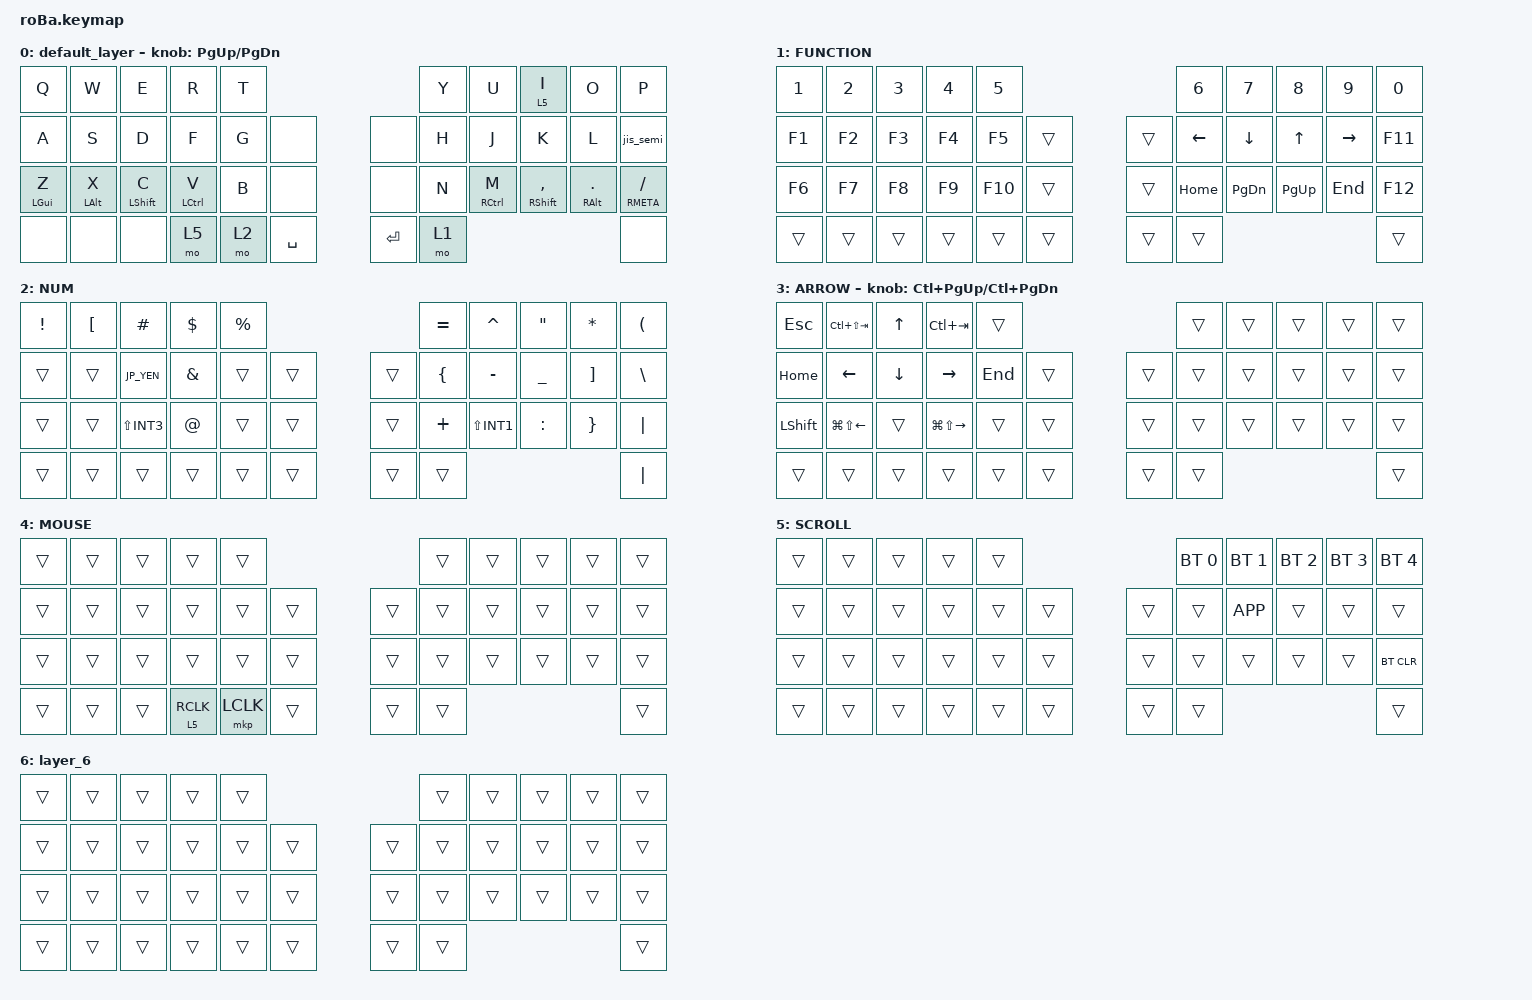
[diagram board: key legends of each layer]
#define DEFAULT 0
#define NUM     1
#define SYM     2
#define FUN     3
#define MOUSE   4
#define SCROLL  5
#define SNIPE   6

#define JP_DQUOTE       AT                // "
#define JP_AMPERSAND    CARET             // &
#define JP_QUOTE        AMPERSAND         // '
#define JP_EQUAL        UNDER             // =
#define JP_CARET        EQUAL             // ^
#define JP_YEN          0x89              // ¥
#define JP_PLUS         COLON             // +
#define JP_TILDE        PLUS              // ~
#define JP_PIPE         LS(INT3)          // |
#define JP_AT           LEFT_BRACKET      // @
#define JP_COLON        SINGLE_QUOTE      // :
#define JP_ASTERISK     DOUBLE_QUOTES     // *
#define JP_BACKQUOTE    LEFT_BRACE        // `
#define JP_UNDERSCORE   LS(INT1)          // _
#define JP_LBRACKET     RIGHT_BRACKET     // [
#define JP_RBRACKET     BACKSLASH         // ]
#define JP_LPAREN       ASTERISK          // (
#define JP_RPAREN       LEFT_PARENTHESIS  // )
#define JP_LBRACE       RIGHT_BRACE       // {
#define JP_RBRACE       PIPE              // }
#define JP_KANA         LANGUAGE_1        // かな
#define JP_EISU         LANGUAGE_2        // 英数
#define JP_HANZEN       GRAVE             // 半角/全角

#define KEYS_L 0 1 2 3 4 10 11 12 13 14 15 22 23 24 25 26 27  // Left-hand keys.
#define KEYS_R 5 6 7 8 9 16 17 18 19 20 21 28 29 30 31 32 33  // Right-hand keys.
#define KEYS_T 34 35 36 37 38 39 40 41 42                     // Thumb keys.

#define HM_TAPPING_TERM 200
#define HM_TAPPING_TERM_FAST 200
#define HM_PRIOR_IDLE 150

#include <behaviors.dtsi>
#include <dt-bindings/zmk/bt.h>
#include <dt-bindings/zmk/keys.h>
#include <dt-bindings/zmk/pointing.h>

&mt {
    flavor = "balanced";
    quick-tap-ms = <0>;
};

&lt {
    flavor = "balanced";
    tapping-term-ms = <200>;
};

&trackball {
    //automouse-layer = <4>;
    scroll-layers = <5>;

    // arrows {
    //     layers = <3>;
    //     bindings =
    //         <&kp RIGHT_ARROW>,
    //         <&kp LEFT_ARROW>,
    //         <&kp UP_ARROW>,
    //         <&kp DOWN_ARROW>;

    //     tick = <10>;
    //     wait-ms = <5>;
    //     tap-ms = <5>;
    // };
};

&caps_word { 
    continue-list = <BACKSPACE DELETE MINUS LSHIFT INT1>; 
};

/ {
    combos {
        compatible = "zmk,combos";

//        tab {
//            bindings = <&kp TAB>;
//            key-positions = <11 12>;
//        };

//        shift_tab {
//            bindings = <&kp LS(TAB)>;
//            key-positions = <12 13>;
//        };

//        muhennkann {
//            bindings = <&to_layer_0 INT_MUHENKAN>;
//            key-positions = <11 10>;
//        };

//        double_quotation {
//            bindings = <&kp DOUBLE_QUOTES>;
//            key-positions = <20 21>;
//        };

//        eq {
//            bindings = <&kp EQUAL>;
//            key-positions = <24 25>;
//        };
        delete {
            bindings = <&kp DELETE>;
            key-positions = <31 32>;
        };

        backspace {
            bindings = <&kp BACKSPACE>;
            key-positions = <7 8>;
        };

        escape {
            bindings = <&kp ESCAPE>;
            key-positions = <23 24>;
        };

        tab {
            bindings = <&kp TAB>;
            key-positions = <1 2>;
        };

        lang1 {
            timeout-ms = <25>;
            bindings = <&kp LANGUAGE_2>;
            key-positions = <24 25>;
        };
    
        lang2 {
            bindings = <&kp LANGUAGE_1>;
            key-positions = <30 31>;
        };

        hankan {    
            bindings = <&kp GRAVE>;
            key-positions = <2 3>;
        };

        capsword {
            bindings = <&caps_word>;
            key-positions = <22 33>;
        };
    };

    macros {
        to_layer_0: to_layer_0 {
            compatible = "zmk,behavior-macro-one-param";
            #binding-cells = <1>;
            bindings = <&to 0 &macro_param_1to1 &kp MACRO_PLACEHOLDER>;
            label = "TO_LAYER_0";
        };

        exit_AML: exit_AML {
            compatible = "zmk,behavior-macro";
            wait-ms = <0>;
            tap-ms = <0>;
            #binding-cells = <0>;
            bindings = <&tog_off 4>;
            label = "exit_AML";
        };

        kp_exit_AML: kp_exit_AML {
            compatible = "zmk,behavior-macro-one-param";
            wait-ms = <0>;
            tap-ms = <0>;
            #binding-cells = <1>;
            bindings = <&macro_param_1to1 &kp MACRO_PLACEHOLDER &exit_AML>;
            label = "KP_exit_AML";
        };
    };

    behaviors {
        lt_to_layer_0: lt_to_layer_0 {
            compatible = "zmk,behavior-hold-tap";
            label = "LAYER_TAP_TO_0";
            bindings = <&mo>, <&to_layer_0>;

            #binding-cells = <2>;
            tapping-term-ms = <200>;
        };
        //コロンセミコロン
        jis_semi: jis_semi {
            compatible = "zmk,behavior-mod-morph";
            label = "jis_SEMI";
            #binding-cells = <0>;
            bindings = <&kp SEMI>, <&kp SQT>;
            mods = <(MOD_LSFT|MOD_RSFT)>;
            // keep-mods = <(MOD_LSFT|MOD_RSFT)>;
        };
        mt_semi: mod_tap_jis_semi {
            compatible = "zmk,behavior-hold-tap";
            label = "MOD_TAP_JIS_SEMI";
            flavor = "balanced";
            #binding-cells = <2>;
            bindings = <&kp>, <&jis_semi>;
            tapping-term-ms = <HM_TAPPING_TERM>;
            //quick-tap-ms = <175>;
            require-prior-idle-ms = <HM_PRIOR_IDLE>;
            hold-trigger-key-positions = <KEYS_L KEYS_T>;
            hold-trigger-on-release;
        };
        hm_l: homerow_mods_left {
            compatible = "zmk,behavior-hold-tap";
            #binding-cells = <2>;
            bindings = <&kp>,  <&kp>;

            flavor = "balanced";
            tapping-term-ms = <HM_TAPPING_TERM>;
            //quick-tap-ms = <175>;                // repeat on tap-into-hold
            require-prior-idle-ms = <HM_PRIOR_IDLE>;

            hold-trigger-key-positions = <KEYS_R KEYS_T>;
            hold-trigger-on-release;
        };

        hm_r: homerow_mods_right {
            compatible = "zmk,behavior-hold-tap";
            #binding-cells = <2>;
            bindings = <&kp>, <&kp>;

            flavor = "balanced";
            tapping-term-ms = <HM_TAPPING_TERM>;
            //quick-tap-ms = <175>;
            require-prior-idle-ms = <HM_PRIOR_IDLE>;

            hold-trigger-key-positions = <KEYS_L KEYS_T>;
            hold-trigger-on-release;
        };

        tog_off: toggle_layer_off {
            compatible = "zmk,behavior-toggle-layer";
            #binding-cells = <1>;
            display-name = "Toggle Layer Off";
            toggle-mode = "off";
        };

        mt_exit_AML_on_tap: mt_exit_AML_on_tap {
            compatible = "zmk,behavior-hold-tap";
            label = "MT_exit_AML_ON_TAP";
            bindings = <&kp>, <&kp_exit_AML>;

            #binding-cells = <2>;
            tapping-term-ms = <200>;
            flavor = "balanced";
            //quick-tap-ms = <200>;

            tapping-term-ms = <HM_TAPPING_TERM>;
            //quick-tap-ms = <175>;
            //require-prior-idle-ms = <HM_PRIOR_IDLE>;

            //hold-trigger-key-positions = <KEYS_R KEYS_T>;
            //hold-trigger-on-release;
        };

    behaviors {
        lt_rclk: lt_rclk {
            compatible = "zmk,behavior-hold-tap";
            #binding-cells = <2>;
            flavor = "tap-preferred"; // 好みに応じて balanced などに変更可能
            tapping-term-ms = <200>;   // 長押し判定の時間（ミリ秒）
            bindings = <&mo>, <&mkp>;  // 1つ目が長押し時（MO）、2つ目が短押し時（MKP）
        };
    };
    };

    keymap {
        compatible = "zmk,keymap";

        default_layer {
            bindings = <
&kp Q             &kp W             &kp E          &kp R          &kp T                                                      &kp Y        &kp U          &lt 5 I            &kp O                &kp P
&kp A             &kp S             &kp D          &kp F          &kp G        &none                          &none          &kp H        &kp J          &kp K              &kp L                &jis_semi          //&jis_semi RMETA 0
&hm_l LGUI Z      &hm_l LEFT_ALT X  &hm_l LSHFT C  &hm_l LCTRL V  &kp B        &none                          &none          &kp N        &hm_r RCTRL M  &hm_r RSHIFT COMMA &hm_r RIGHT_ALT DOT  &hm_r RMETA SLASH  //&lt 5 SLASH
&none             &none             &none          &mo 5          &mo 2        &kp SPACE                      &kp ENTER      &mo 1                                                               &none
            >;

            sensor-bindings = <&inc_dec_kp PG_UP PAGE_DOWN>;
        };

        FUNCTION {
            bindings = <
&kp NUMBER_1  &kp NUMBER_2  &kp NUMBER_3  &kp NUMBER_4  &kp NUMBER_5                           &kp NUMBER_6    &kp NUMBER_7   &kp NUMBER_8  &kp NUMBER_9  &kp NUMBER_0
&kp F1        &kp F2        &kp F3        &kp F4        &kp F5        &trans          &trans   &kp LEFT_ARROW  &kp DOWN       &kp UP_ARROW  &kp RIGHT     &kp F11
&kp F6        &kp F7        &kp F8        &kp F9        &kp F10       &trans          &trans   &kp HOME        &kp PAGE_DOWN  &kp PAGE_UP   &kp END       &kp F12
&trans        &trans        &trans        &trans        &trans        &trans          &trans   &trans                                                     &trans
            >;
        };

        NUM {
            bindings = <
&kp EXCLAMATION  &kp JP_AT     &kp HASH         &kp DOLLAR     &kp PERCENT                                         &kp JP_CARET     &kp JP_AMPERSAND  &kp JP_ASTERISK &kp JP_LPAREN    &kp JP_RPAREN
&trans           &trans        &kp JP_YEN       &kp JP_QUOTE   &trans       &trans                       &trans    &kp JP_BACKQUOTE &kp MINUS         &kp JP_EQUAL    &kp JP_LBRACKET  &kp JP_RBRACKET
&trans           &trans        &kp JP_PIPE      &kp JP_DQUOTE  &trans       &trans                       &trans    &kp JP_TILDE     &kp JP_UNDERSCORE &kp JP_PLUS     &kp JP_LBRACE    &kp JP_RBRACE
&trans           &trans        &trans           &trans         &trans       &trans                       &trans    &trans                                                              &kp PIPE
            >;
        };

        ARROW {
            bindings = <
&kp ESCAPE      &kp LC(LS(TAB))         &kp UP_ARROW    &kp LC(TAB)              &trans                       &trans  &trans  &trans  &trans  &trans
&kp HOME        &kp LEFT_ARROW          &kp DOWN_ARROW  &kp RIGHT_ARROW          &kp END  &trans      &trans  &trans  &trans  &trans  &trans  &trans
&kp LEFT_SHIFT  &kp LG(LS(LEFT_ARROW))  &trans          &kp LG(LS(RIGHT_ARROW))  &trans   &trans      &trans  &trans  &trans  &trans  &trans  &trans
&trans          &trans                  &trans          &trans                   &trans   &trans      &trans  &trans                          &trans
            >;

            sensor-bindings = <&inc_dec_kp LC(PAGE_UP) LC(PAGE_DOWN)>;
        };

        MOUSE {
            bindings = <
&trans  &trans  &trans  &trans     &trans                     &trans  &trans  &trans    &trans   &trans
&trans  &trans  &trans  &trans     &trans     &trans          &trans  &trans  &trans    &trans   &trans     &trans
&trans  &trans  &trans  &trans     &trans     &trans          &trans  &trans  &trans    &trans   &trans     &trans
&trans  &trans  &trans  &lt_rclk 5 RCLK  &mkp LCLK  &trans          &trans  &trans                                &trans
            >;
        };

        SCROLL {
            bindings = <
&trans  &trans  &trans     &trans     &trans                              &bt BT_SEL 0  &bt BT_SEL 1  &bt BT_SEL 2  &bt BT_SEL 3  &bt BT_SEL 4
&trans  &trans  &trans     &trans     &trans     &trans           &trans  &trans        &kp K_APP     &trans        &trans        &trans
&trans  &trans  &trans     &trans     &trans     &trans           &trans  &trans        &trans        &trans        &trans        &bt BT_CLR
&trans  &trans  &trans     &trans     &trans     &trans           &trans  &trans                                                  &trans
            >;
        };

        layer_6 {
            bindings = <
&trans  &trans  &trans     &trans     &trans                           &trans        &trans        &trans        &trans        &trans
&trans  &trans  &trans     &trans     &trans  &trans           &trans  &trans        &trans        &trans        &trans        &trans
&trans  &trans  &trans     &trans     &trans  &trans           &trans  &trans        &trans        &trans        &trans        &trans
&trans  &trans  &trans     &trans     &trans  &trans           &trans  &trans                                                  &trans
            >;
        };
    };
};
